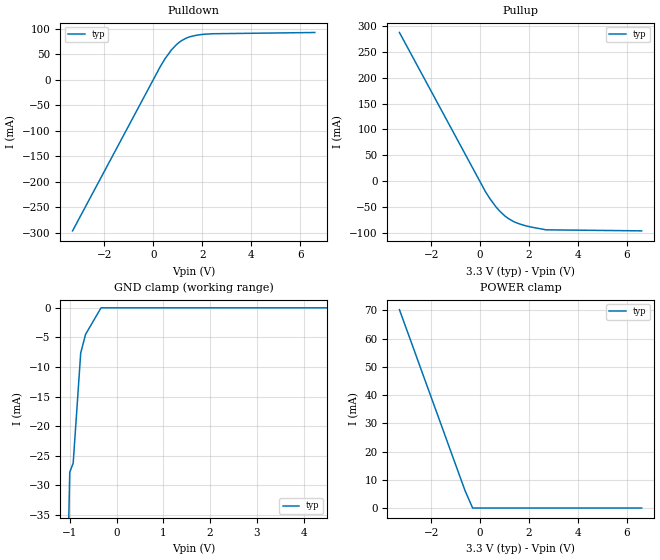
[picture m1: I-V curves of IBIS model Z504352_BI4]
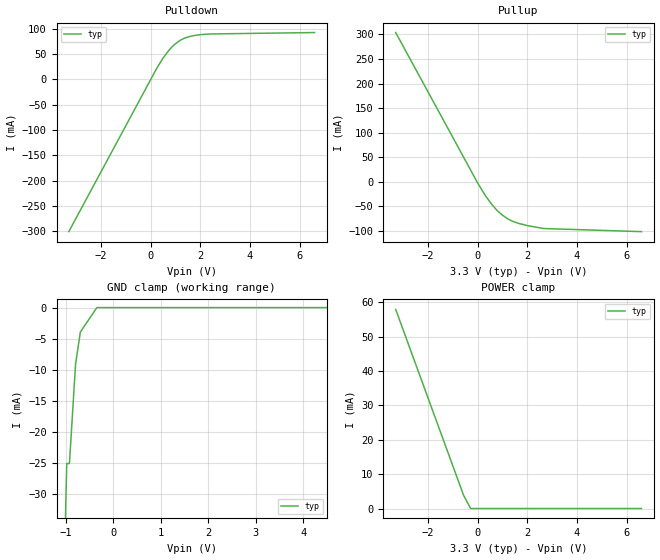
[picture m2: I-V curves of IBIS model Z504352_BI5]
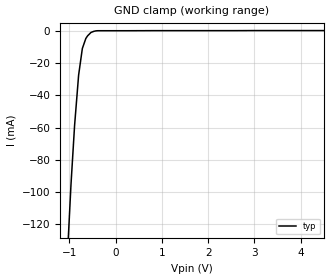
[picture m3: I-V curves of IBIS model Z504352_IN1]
| YOU ARE ONLY AUTHORIZED TO USE THIS SOFTWARE
| ACCORDING TO LICENSOR'S LICENSE RESTRICTIONS.
[IBIS Ver] 3.1
[File Name] mc74lcx652dt.ibs
[File Rev] 2.0
[Source] Measured and created by ICX Technology
[Date] Friday 7/14/00 9:08:12 AM
[Copyright]
| (C) COPYRIGHT 1993-2000
| MENTOR GRAPHICS CORPORATION
| ICX STANDARD LIBRARY, ICX PROJECT MODELING,
| ICX CUSTOM MODELING, ICX VENDOR MODEL
| ALL RIGHTS RESERVED.
| THE FOLLOWING ARE TRADEMARKS OR SERVICE MARKS OF
| MENTOR GRAPHICS CORPORATION:ICX (R), ICX STANDARD
| LIBRARY(R), ICX PROJECT MODELING(R), ICX CUSTOM
| MODELING(R), qualityIBIS(TM), MODELVIEWER(TM),
| AND MODELEDITOR(TM)
| ALL COPIES OF SOFTWARE, INCLUDING BUT NOT LIMITED TO
| ANY MODIFICATIONS, ENHANCEMENTS OR DERIVATIVE WORKS,
| MUST CONTAIN ALL MENTOR GRAPHICS CORPORATION'S
| NOTICES AND LEGENDS, INCLUDING THOSE EMBEDDED IN
| SOFTWARE AND THOSE AFFIXED TO SOFTWARE MEDIUM
| AND CONTAINER, AS RECEIVED FROM MENTOR GRAPHICS
| CORPORATION.
|  ZAP Model Builder 2.7
[Component] MC74LCX652DT
[Manufacturer] OnSemiconductor
[Package]
| variable   typ   min   max
R_pkg  .184ohms NA NA
L_pkg  4.42nH NA NA
C_pkg  .417pF NA NA
[Pin] signal_name  model_name  R_pin  L_pin C_pin
1 CPAB Z504352_IN1 .204 5.418n .452p
2 SAB Z504352_IN2 .194 5.16n .43p
3 OEAB Z504352_IN3 .185 4.57n .42p
4 A0 Z504352_BI4 .177 3.98n .42p
5 A1 Z504352_BI4 .174 3.79n .41p
6 A2 Z504352_BI4 .171 3.6n .37p
7 A3 Z504352_BI4 .171 3.6n .37p
8 A4 Z504352_BI4 .174 3.79n .41p
9 A5 Z504352_BI4 .177 3.98n .42p
10 A6 Z504352_BI4 .185 4.57n .42p
11 A7 Z504352_BI4 .194 5.16n .43p
12 GROUND GND .204 5.418n .452p
13 B7 Z504352_BI5 .204 5.418n .452p
14 B6 Z504352_BI5 .194 5.16n .43p
15 B5 Z504352_BI5 .185 4.57n .42p
16 B4 Z504352_BI5 .177 3.98n .42p
17 B3 Z504352_BI5 .174 3.79n .41p
18 B2 Z504352_BI5 .171 3.6n .37p
19 B1 Z504352_BI5 .171 3.6n .37p
20 B0 Z504352_BI5 .174 3.79n .41p
21 _OEBA Z504352_IN6 .177 3.98n .42p
22 SBA Z504352_IN2 .185 4.57n .42p
23 CPBA Z504352_IN1 .194 5.16n .43p
24 VCC POWER .204 5.418n .452p
| Models and submodels in the file (6): Z504352_BI4 (I/O), Z504352_BI5 (I/O), Z504352_IN1 (Input), Z504352_IN2 (Input), Z504352_IN3 (Input), Z504352_IN6 (Input)
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| (C) COPYRIGHT 1993-2000
| MENTOR GRAPHICS CORPORATION
| ICX STANDARD LIBRARY, ICX PROJECT MODELING,
| ICX CUSTOM MODELING, ICX VENDOR MODEL
| ALL RIGHTS RESERVED.
| THE FOLLOWING ARE TRADEMARKS OR SERVICE MARKS OF
| MENTOR GRAPHICS CORPORATION:ICX (R), ICX STANDARD
| LIBRARY(R), ICX PROJECT MODELING(R), ICX CUSTOM
| MODELING(R), qualityIBIS(TM), MODELVIEWER(TM),
| AND MODELEDITOR(TM)
| ALL COPIES OF SOFTWARE, INCLUDING BUT NOT LIMITED TO
| ANY MODIFICATIONS, ENHANCEMENTS OR DERIVATIVE WORKS,
| MUST CONTAIN ALL MENTOR GRAPHICS CORPORATION'S
| NOTICES AND LEGENDS, INCLUDING THOSE EMBEDDED IN
| SOFTWARE AND THOSE AFFIXED TO SOFTWARE MEDIUM
| AND CONTAINER, AS RECEIVED FROM MENTOR GRAPHICS
| CORPORATION.
| Model Application Version 1.89 2/18/99.
[Model] Z504352_BI4
Model_type I/O
Vinl=800.0mV
Vinh=2.000V
Vref=0.000V
Rref=500.0ohms
Cref=50.00pF
Vmeas=1.500V
C_comp 8.000pF NA NA
| variable typ   min   max
[Voltage Range] 3.300V NA NA
[POWER Clamp Reference] 3.300V NA NA
[Pullup Reference] 3.300V NA NA
[Pulldown Reference] 0.000V NA NA
[GND Clamp Reference] 0.000V NA NA
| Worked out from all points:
|   slope of the pulldown table from 0 to 0.495 V, typ, clamps not added: 11.7 ohm
|   slope of the pullup table from 0 to 0.495 V, typ, clamps not added: 12.8 ohm
[GND Clamp]
-3.3V     -1.216A    NA         NA
-1.068V   -53.15mA   NA         NA
-1.001V   -27.77mA   NA         NA
-927.8mV  -26.25mA   NA         NA
-766.4mV  -7.627mA   NA         NA
-662.5mV  -4.485mA   NA         NA
-331.3mV  0A         NA         NA
6.6V      0A         NA         NA
[Pulldown]
-3.3V     -296.4mA   NA         NA
278.4mV   25.26mA    NA         NA
479.6mV   41.36mA    NA         NA
742.3mV   58.68mA    NA         NA
1.025V    72.28mA    NA         NA
1.47V     84.04mA    NA         NA
2.168V    89.77mA    NA         NA
6.6V      92.81mA    NA         NA
[Pullup]
-3.3V     287.6mA    NA         NA
214mV     -20.51mA   NA         NA
645mV     -50.07mA   NA         NA
1.003V    -67.45mA   NA         NA
1.371V    -78.78mA   NA         NA
1.567V    -82.53mA   NA         NA
2.675V    -94.59mA   NA         NA
6.6V      -96.6mA    NA         NA
[POWER Clamp]
-3.3V     70.29mA    NA         NA
-616mV    6.09mA     NA         NA
-308mV    0A         NA         NA
6.6V      0A         NA         NA
[Ramp]
| variable typ min max
dV/dt_r 1.949/296.0p NA NA
dV/dt_f 1.949/1.459n NA NA
R_load = 500.0Ohms
| (C) COPYRIGHT 1993-2000
| MENTOR GRAPHICS CORPORATION
| ICX STANDARD LIBRARY, ICX PROJECT MODELING,
| ICX CUSTOM MODELING, ICX VENDOR MODEL
| ALL RIGHTS RESERVED.
| THE FOLLOWING ARE TRADEMARKS OR SERVICE MARKS OF
| MENTOR GRAPHICS CORPORATION:ICX (R), ICX STANDARD
| LIBRARY(R), ICX PROJECT MODELING(R), ICX CUSTOM
| MODELING(R), qualityIBIS(TM), MODELVIEWER(TM),
| AND MODELEDITOR(TM)
| ALL COPIES OF SOFTWARE, INCLUDING BUT NOT LIMITED TO
| ANY MODIFICATIONS, ENHANCEMENTS OR DERIVATIVE WORKS,
| MUST CONTAIN ALL MENTOR GRAPHICS CORPORATION'S
| NOTICES AND LEGENDS, INCLUDING THOSE EMBEDDED IN
| SOFTWARE AND THOSE AFFIXED TO SOFTWARE MEDIUM
| AND CONTAINER, AS RECEIVED FROM MENTOR GRAPHICS
| CORPORATION.
| Model Application Version 1.89 2/18/99.
[Model] Z504352_BI5
Model_type I/O
Vinl=800.0mV
Vinh=2.000V
Vref=0.000V
Rref=500.0ohms
Cref=50.00pF
Vmeas=1.500V
C_comp 8.000pF NA NA
| variable typ   min   max
[Voltage Range] 3.300V NA NA
[POWER Clamp Reference] 3.300V NA NA
[Pullup Reference] 3.300V NA NA
[Pulldown Reference] 0.000V NA NA
[GND Clamp Reference] 0.000V NA NA
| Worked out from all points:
|   slope of the pulldown table from 0 to 0.495 V, typ, clamps not added: 11.8 ohm
|   slope of the pullup table from 0 to 0.495 V, typ, clamps not added: 12.8 ohm
[GND Clamp]
-3.3V     -1.252A    NA         NA
-1.04V    -43.06mA   NA         NA
-984.9mV  -25.08mA   NA         NA
-927.8mV  -25.08mA   NA         NA
-798.5mV  -9.099mA   NA         NA
-698mV    -3.94mA    NA         NA
-349mV    0A         NA         NA
6.6V      0A         NA         NA
[Pulldown]
-3.3V     -300.4mA   NA         NA
224.6mV   20.51mA    NA         NA
480.3mV   41.14mA    NA         NA
742.7mV   58.24mA    NA         NA
989.5mV   70.29mA    NA         NA
1.182V    77.09mA    NA         NA
1.472V    83.42mA    NA         NA
2.046V    88.69mA    NA         NA
6.6V      92.65mA    NA         NA
[Pullup]
-3.3V     303.9mA    NA         NA
15mV      -3.971mA   NA         NA
326mV     -29.47mA   NA         NA
566mV     -46.06mA   NA         NA
791mV     -58.98mA   NA         NA
1.001V    -68.43mA   NA         NA
1.213V    -75.79mA   NA         NA
1.584V    -83.99mA   NA         NA
2.674V    -95.57mA   NA         NA
6.6V      -101.9mA   NA         NA
[POWER Clamp]
-3.3V     57.93mA    NA         NA
-562mV    3.789mA    NA         NA
-281mV    0A         NA         NA
6.6V      0A         NA         NA
[Ramp]
| variable typ min max
dV/dt_r 1.953/291.7p NA NA
dV/dt_f 1.953/1.355n NA NA
R_load = 500.0Ohms
| (C) COPYRIGHT 1993-2000
| MENTOR GRAPHICS CORPORATION
| ICX STANDARD LIBRARY, ICX PROJECT MODELING,
| ICX CUSTOM MODELING, ICX VENDOR MODEL
| ALL RIGHTS RESERVED.
| THE FOLLOWING ARE TRADEMARKS OR SERVICE MARKS OF
| MENTOR GRAPHICS CORPORATION:ICX (R), ICX STANDARD
| LIBRARY(R), ICX PROJECT MODELING(R), ICX CUSTOM
| MODELING(R), qualityIBIS(TM), MODELVIEWER(TM),
| AND MODELEDITOR(TM)
| ALL COPIES OF SOFTWARE, INCLUDING BUT NOT LIMITED TO
| ANY MODIFICATIONS, ENHANCEMENTS OR DERIVATIVE WORKS,
| MUST CONTAIN ALL MENTOR GRAPHICS CORPORATION'S
| NOTICES AND LEGENDS, INCLUDING THOSE EMBEDDED IN
| SOFTWARE AND THOSE AFFIXED TO SOFTWARE MEDIUM
| AND CONTAINER, AS RECEIVED FROM MENTOR GRAPHICS
| CORPORATION.
| Model Application Version 1.89 2/18/99.
[Model] Z504352_IN1
Model_type Input
Vinl = 800.0mV
Vinh = 2.000V
C_comp 4.000pF NA NA
| variable typ   min   max
[Voltage Range] 3.300V NA NA
[GND Clamp Reference] 0.000V NA NA
[POWER Clamp Reference] 3.300V NA NA
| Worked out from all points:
|   GND clamp passes 1 mA (typ) near -0.54 V on its own axis
[GND Clamp]
-3.3V     -3.225A    NA         NA
-1.124V   -185.6mA   NA         NA
-965.6mV  -95.22mA   NA         NA
-887.8mV  -58.62mA   NA         NA
-800.7mV  -27.37mA   NA         NA
-720mV    -10.84mA   NA         NA
-644.3mV  -4.616mA   NA         NA
-532.2mV  -882.7uA   NA         NA
-390.6mV  165.9uA    NA         NA
6.6V      268.8uA    NA         NA
[POWER Clamp]
-3.3V     0A         NA         NA
6.6V      0A         NA         NA
